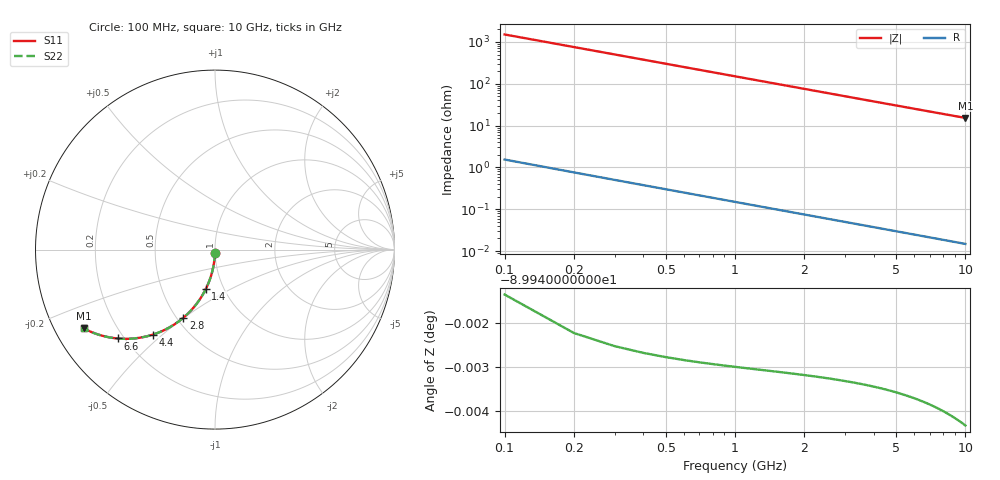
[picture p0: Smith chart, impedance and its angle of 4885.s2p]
# Hz S RI R 50.00
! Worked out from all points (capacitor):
!   100 points, 100 MHz to 10 GHz, reference 50 ohm
!   read as one part in shunt: C = 1.06 pF near 100 MHz
!   lowest |Z| = 15.3 ohm at 10 GHz (marker M1)
!   S11 on the Smith chart (normalised r, x): 100 MHz: 1.00, -0.03; 1.4 GHz: 0.82, -0.38; 2.8 GHz: 0.54, -0.50; 4.4 GHz: 0.32, -0.47; 6.6 GHz: 0.18, -0.38; 10 GHz: 0.09, -0.28
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1e8  -0.000277 -0.0165  0.9997 -0.0166  0.9997 -0.0166  -0.000277 -0.0165
2e8  -0.00112 -0.033  0.9989 -0.0332  0.9989 -0.0332  -0.00112 -0.033
3e8  -0.0025 -0.0495  0.9975 -0.0497  0.9975 -0.0497  -0.0025 -0.0495
4e8  -0.00443 -0.0659  0.9955 -0.0662  0.9955 -0.0662  -0.00443 -0.0659
5e8  -0.00689 -0.0821  0.9931 -0.0825  0.9931 -0.0825  -0.00689 -0.0821
6e8  -0.00988 -0.0982  0.9901 -0.0987  0.9901 -0.0987  -0.00988 -0.0982
7e8  -0.0134 -0.1142  0.9866 -0.1147  0.9866 -0.1147  -0.0134 -0.1142
9e8  -0.0219 -0.1455  0.9781 -0.1462  0.9781 -0.1462  -0.0219 -0.1455
1.1e9  -0.0323 -0.176  0.9677 -0.1768  0.9677 -0.1768  -0.0323 -0.176
1.4e9  -0.0512 -0.2195  0.9487 -0.2206  0.9487 -0.2206  -0.0512 -0.2195
1.8e9  -0.0819 -0.273  0.9181 -0.2744  0.9181 -0.2744  -0.0819 -0.273
2.3e9  -0.1269 -0.3316  0.873 -0.3333  0.873 -0.3333  -0.1269 -0.3316
2.8e9  -0.1771 -0.3802  0.8229 -0.3823  0.8229 -0.3823  -0.1771 -0.3802
3.4e9  -0.2407 -0.4257  0.7593 -0.4283  0.7593 -0.4283  -0.2407 -0.4257
4.4e9  -0.3463 -0.4736  0.6537 -0.477  0.6537 -0.477  -0.3463 -0.4736
5.1e9  -0.4155 -0.4904  0.5845 -0.4943  0.5845 -0.4943  -0.4155 -0.4904
5.8e9  -0.4787 -0.4968  0.5213 -0.5013  0.5213 -0.5013  -0.4787 -0.4968
6.6e9  -0.5428 -0.4951  0.4571 -0.5002  0.4571 -0.5002  -0.5428 -0.4951
6.7e9  -0.5503 -0.4944  0.4497 -0.4995  0.4497 -0.4995  -0.5503 -0.4944
7.5e9  -0.605 -0.4855  0.395 -0.4912  0.395 -0.4912  -0.605 -0.4855
8.4e9  -0.6574 -0.4708  0.3426 -0.4773  0.3426 -0.4773  -0.6574 -0.4708
1e10  -0.7308 -0.4392  0.2692 -0.4469  0.2692 -0.4469  -0.7308 -0.4392
